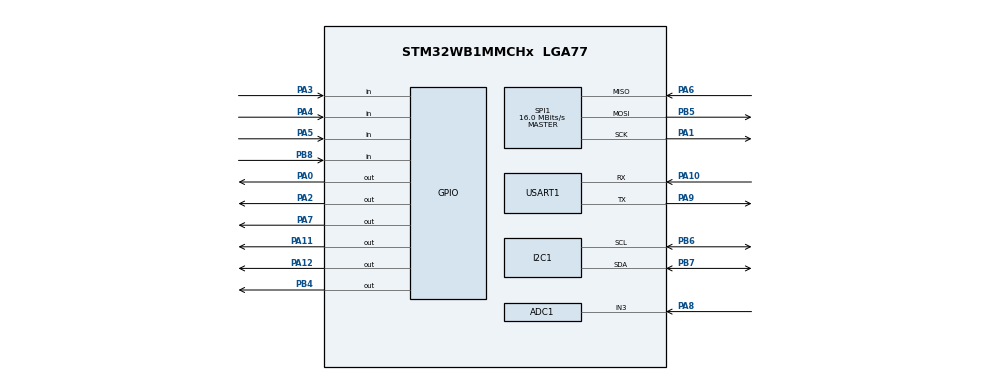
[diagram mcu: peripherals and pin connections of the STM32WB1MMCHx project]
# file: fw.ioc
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ADC1.Channel-0\#ChannelRegularConversion=ADC_CHANNEL_3
ADC1.NbrOfConversionFlag=1
ADC1.Rank-0\#ChannelRegularConversion=1
ADC1.SamplingTime-0\#ChannelRegularConversion=ADC_SAMPLINGTIME_COMMON_1
ADC1.SelectedChannel=ADC_CHANNEL_3
ADC1.master=1
I2C1.Timing=0x00B07CB4
Mcu.Family=STM32WB
Mcu.Name=STM32WB1MMCHx
Mcu.Package=LGA77
NVIC.HSEM_IRQn=true\:0\:0\:false\:false\:true\:false\:true\:true
NVIC.IPCC_C1_RX_IRQn=true\:0\:0\:false\:false\:true\:true\:true\:true
NVIC.IPCC_C1_TX_IRQn=true\:0\:0\:false\:false\:true\:true\:true\:true
NVIC.PriorityGroup=NVIC_PRIORITYGROUP_4
NVIC.RTC_WKUP_IRQn=true\:0\:0\:false\:false\:true\:true\:true\:true
PA0.Signal=GPIO_Output
PA1.Mode=Full_Duplex_Master
PA1.Signal=SPI1_SCK
PA10.Mode=Asynchronous
PA10.Signal=USART1_RX
PA11.Signal=GPIO_Output
PA12.Signal=GPIO_Output
PA13.Mode=Serial_Wire
PA13.Signal=SYS_JTMS-SWDIO
PA14.Mode=Serial_Wire
PA14.Signal=SYS_JTCK-SWCLK
PA2.Signal=GPIO_Output
PA3.Signal=GPIO_Input
PA4.Signal=GPIO_Input
PA5.Signal=GPIO_Input
PA6.Mode=Full_Duplex_Master
PA6.Signal=SPI1_MISO
PA7.Signal=GPIO_Output
PA8.Signal=ADCx_IN3
PA9.Mode=Asynchronous
PA9.Signal=USART1_TX
PB4.Signal=GPIO_Output
PB5.Mode=Full_Duplex_Master
PB5.Signal=SPI1_MOSI
PB6.Mode=I2C
PB6.Signal=I2C1_SCL
PB7.Mode=I2C
PB7.Signal=I2C1_SDA
PB8.Signal=GPIO_Input
ProjectManager.HeapSize=0x200
ProjectManager.StackSize=0x400
ProjectManager.TargetToolchain=STM32CubeIDE
RCC.AHBFreq_Value=32000000
RCC.APB1Freq_Value=32000000
RCC.APB1TimFreq_Value=32000000
RCC.APB2Freq_Value=32000000
RCC.APB2TimFreq_Value=32000000
RCC.APB3Freq_Value=16000000
RCC.CortexFreq_Value=32000000
RCC.HCLKFreq_Value=32000000
RCC.HSE_VALUE=32000000
RCC.HSI_VALUE=16000000
RCC.MSIClockRange=RCC_MSIRANGE_10
RCC.SYSCLKFreq_VALUE=32000000
RCC.VCOOutputFreq_Value=256000000
SH.ADCx_IN3.0=ADC1_IN3,IN3-Single-Ended
SPI1.CalculateBaudRate=16.0 MBits/s
SPI1.Direction=SPI_DIRECTION_2LINES
SPI1.Mode=SPI_MODE_MASTER
SPI1.VirtualType=VM_MASTER
STM32_WPAN.AD_TYPE_COMPLETE_LOCAL_NAME=BAGEL
STM32_WPAN.AD_TYPE_COMPLETE_LOCAL_NAME_LENGTH=6
STM32_WPAN.CFG_LSCLK_LSE=0
STM32_WPAN.CUSTOM_P2P_SERVER=Disabled
STM32_WPAN.CUSTOM_TEMPLATE=Enabled
STM32_WPAN.INCLUDE_AD_TYPE_COMPLETE_LOCAL_NAME=1
STM32_WPAN.NUMBER_OF_SERVICES=2
STM32_WPAN.PAIRING_PARAMETERS=OFF
STM32_WPAN.SERVICE1_CHAR1_GATT_NOTIFY_READ_REQ_AND_WAIT_FOR_APPL_RESP=\ 
STM32_WPAN.SERVICE1_CHAR1_GATT_NOTIFY_WRITE_REQ_AND_WAIT_FOR_APPL_RESP=\ 
STM32_WPAN.SERVICE1_CHAR1_LONG_NAME=SWITCH_4
STM32_WPAN.SERVICE1_CHAR1_PROP_NOTIFY=CHAR_PROP_NOTIFY
STM32_WPAN.SERVICE1_CHAR1_PROP_READ=CHAR_PROP_READ
STM32_WPAN.SERVICE1_CHAR1_PROP_WRITE=CHAR_PROP_WRITE
STM32_WPAN.SERVICE1_CHAR1_SHORT_NAME=SWITCH_4
STM32_WPAN.SERVICE1_CHAR1_UUID=98 71 87 AB D9 37 FE 72 83 74 02 09 27 16 78 27
STM32_WPAN.SERVICE1_CHAR1_UUID_128_INPUT_TYPE=1
STM32_WPAN.SERVICE1_CHAR2_GATT_NOTIFY_READ_REQ_AND_WAIT_FOR_APPL_RESP=\ 
STM32_WPAN.SERVICE1_CHAR2_GATT_NOTIFY_WRITE_REQ_AND_WAIT_FOR_APPL_RESP=\ 
STM32_WPAN.SERVICE1_CHAR2_LONG_NAME=SWITCH_5
STM32_WPAN.SERVICE1_CHAR2_PROP_NOTIFY=CHAR_PROP_NOTIFY
STM32_WPAN.SERVICE1_CHAR2_PROP_READ=CHAR_PROP_READ
STM32_WPAN.SERVICE1_CHAR2_PROP_WRITE=CHAR_PROP_WRITE
STM32_WPAN.SERVICE1_CHAR2_SHORT_NAME=SWITCH_5
STM32_WPAN.SERVICE1_CHAR2_UUID=67 37 44 98 92 48 92 49 82 49 83 48 93 48 3B CD
STM32_WPAN.SERVICE1_CHAR2_UUID_128_INPUT_TYPE=1
STM32_WPAN.SERVICE1_CHAR3_GATT_NOTIFY_READ_REQ_AND_WAIT_FOR_APPL_RESP=\ 
STM32_WPAN.SERVICE1_CHAR3_GATT_NOTIFY_WRITE_REQ_AND_WAIT_FOR_APPL_RESP=\ 
STM32_WPAN.SERVICE1_CHAR3_LONG_NAME=SWITCH_6
STM32_WPAN.SERVICE1_CHAR3_PROP_NOTIFY=CHAR_PROP_NOTIFY
STM32_WPAN.SERVICE1_CHAR3_PROP_READ=CHAR_PROP_READ
STM32_WPAN.SERVICE1_CHAR3_PROP_WRITE=CHAR_PROP_WRITE
STM32_WPAN.SERVICE1_CHAR3_SHORT_NAME=SWITCH_6
STM32_WPAN.SERVICE1_CHAR3_UUID=97 19 81 88 92 89 2B CD 98 F9 8E 98 98 E7 12 31
STM32_WPAN.SERVICE1_CHAR3_UUID_128_INPUT_TYPE=1
STM32_WPAN.SERVICE1_LONG_NAME=BAGEL_2
STM32_WPAN.SERVICE1_NUMBER_OF_CHARACTERISTICS=3
STM32_WPAN.SERVICE1_SHORT_NAME=BAGEL_2
STM32_WPAN.SERVICE1_UUID=73 73 73 73 73 71 91 92 10 95 09 12 89 27 26 6B
STM32_WPAN.SERVICE1_UUID_128_INPUT_TYPE=1
STM32_WPAN.SERVICE2_CHAR1_GATT_NOTIFY_READ_REQ_AND_WAIT_FOR_APPL_RESP=\ 
STM32_WPAN.SERVICE2_CHAR1_GATT_NOTIFY_WRITE_REQ_AND_WAIT_FOR_APPL_RESP=\ 
STM32_WPAN.SERVICE2_CHAR1_LENGTH_CHARACTERISTIC=CHAR_VALUE_LEN_CONSTANT
STM32_WPAN.SERVICE2_CHAR1_LONG_NAME=Switch_1
STM32_WPAN.SERVICE2_CHAR1_PROP_NOTIFY=CHAR_PROP_NOTIFY
STM32_WPAN.SERVICE2_CHAR1_PROP_READ=CHAR_PROP_READ
STM32_WPAN.SERVICE2_CHAR1_PROP_WRITE=CHAR_PROP_WRITE
STM32_WPAN.SERVICE2_CHAR1_SHORT_NAME=Switch_1
STM32_WPAN.SERVICE2_CHAR1_UUID=1A B8 34 56 76 53 73 84 27 37 48 48 38 48 38 48
STM32_WPAN.SERVICE2_CHAR1_UUID_128_INPUT_TYPE=1
STM32_WPAN.SERVICE2_CHAR2_GATT_NOTIFY_READ_REQ_AND_WAIT_FOR_APPL_RESP=\ 
STM32_WPAN.SERVICE2_CHAR2_GATT_NOTIFY_WRITE_REQ_AND_WAIT_FOR_APPL_RESP=\ 
STM32_WPAN.SERVICE2_CHAR2_LONG_NAME=Switch_2
STM32_WPAN.SERVICE2_CHAR2_PROP_NOTIFY=CHAR_PROP_NOTIFY
STM32_WPAN.SERVICE2_CHAR2_PROP_READ=CHAR_PROP_READ
STM32_WPAN.SERVICE2_CHAR2_PROP_WRITE=CHAR_PROP_WRITE
STM32_WPAN.SERVICE2_CHAR2_SHORT_NAME=Switch_2
STM32_WPAN.SERVICE2_CHAR2_UUID=63 77 77 AB C7 38 7D E7 28 98 27 37 38 83 88 38
STM32_WPAN.SERVICE2_CHAR2_UUID_128_INPUT_TYPE=1
STM32_WPAN.SERVICE2_CHAR3_GATT_NOTIFY_READ_REQ_AND_WAIT_FOR_APPL_RESP=\ 
STM32_WPAN.SERVICE2_CHAR3_GATT_NOTIFY_WRITE_REQ_AND_WAIT_FOR_APPL_RESP=\ 
STM32_WPAN.SERVICE2_CHAR3_LONG_NAME=Switch_3
STM32_WPAN.SERVICE2_CHAR3_PROP_NOTIFY=CHAR_PROP_NOTIFY
STM32_WPAN.SERVICE2_CHAR3_PROP_READ=CHAR_PROP_READ
STM32_WPAN.SERVICE2_CHAR3_PROP_WRITE=CHAR_PROP_WRITE
STM32_WPAN.SERVICE2_CHAR3_SHORT_NAME=Switch_3
STM32_WPAN.SERVICE2_CHAR3_UUID=72 67 18 34 82 82 03 08 23 83 83 8B CD E2 90 92
STM32_WPAN.SERVICE2_CHAR3_UUID_128_INPUT_TYPE=1
STM32_WPAN.SERVICE2_LONG_NAME=BAGEL_1
STM32_WPAN.SERVICE2_NUMBER_OF_CHARACTERISTICS=3
STM32_WPAN.SERVICE2_SHORT_NAME=BAGEL_1
STM32_WPAN.SERVICE2_UUID=72 73 78 10 82 72 98 12 98 98 98 BC DE F9 81 98
STM32_WPAN.SERVICE2_UUID_128_INPUT_TYPE=1
STM32_WPAN.SERVICE3_CHAR1_GATT_NOTIFY_READ_REQ_AND_WAIT_FOR_APPL_RESP=\ 
STM32_WPAN.SERVICE3_CHAR1_GATT_NOTIFY_WRITE_REQ_AND_WAIT_FOR_APPL_RESP=\ 
STM32_WPAN.SERVICE3_CHAR1_LONG_NAME=SWITCH_4
STM32_WPAN.SERVICE3_CHAR1_PROP_NOTIFY=CHAR_PROP_NOTIFY
STM32_WPAN.SERVICE3_CHAR1_PROP_READ=CHAR_PROP_READ
STM32_WPAN.SERVICE3_CHAR1_PROP_WRITE=CHAR_PROP_WRITE
STM32_WPAN.SERVICE3_CHAR1_SHORT_NAME=SWITCH_4
STM32_WPAN.SERVICE3_CHAR1_UUID=64 18 92 98 78 46 54 7F ED 91 98 28 7B CD AB 48
STM32_WPAN.SERVICE3_CHAR1_UUID_128_INPUT_TYPE=1
STM32_WPAN.SERVICE3_CHAR2_GATT_NOTIFY_READ_REQ_AND_WAIT_FOR_APPL_RESP=\ 
STM32_WPAN.SERVICE3_CHAR2_GATT_NOTIFY_WRITE_REQ_AND_WAIT_FOR_APPL_RESP=\ 
STM32_WPAN.SERVICE3_CHAR2_LONG_NAME=SWITCH_5
STM32_WPAN.SERVICE3_CHAR2_PROP_NOTIFY=CHAR_PROP_NOTIFY
STM32_WPAN.SERVICE3_CHAR2_PROP_READ=CHAR_PROP_READ
STM32_WPAN.SERVICE3_CHAR2_PROP_WRITE=CHAR_PROP_WRITE
STM32_WPAN.SERVICE3_CHAR2_SHORT_NAME=SWITCH_5
STM32_WPAN.SERVICE3_CHAR2_UUID=98 34 98 98 98 98 BC EF 98 E9 8D 98 F9 87 82 12
STM32_WPAN.SERVICE3_CHAR2_UUID_128_INPUT_TYPE=1
STM32_WPAN.SERVICE3_CHAR3_GATT_NOTIFY_READ_REQ_AND_WAIT_FOR_APPL_RESP=\ 
STM32_WPAN.SERVICE3_CHAR3_GATT_NOTIFY_WRITE_REQ_AND_WAIT_FOR_APPL_RESP=\ 
STM32_WPAN.SERVICE3_CHAR3_LONG_NAME=SWITCH_6
STM32_WPAN.SERVICE3_CHAR3_PROP_NOTIFY=CHAR_PROP_NOTIFY
STM32_WPAN.SERVICE3_CHAR3_PROP_READ=CHAR_PROP_READ
STM32_WPAN.SERVICE3_CHAR3_PROP_WRITE=CHAR_PROP_WRITE
STM32_WPAN.SERVICE3_CHAR3_SHORT_NAME=SWITCH_6
STM32_WPAN.SERVICE3_CHAR3_UUID=73 77 97 8B CE 8F 98 D9 8A 98 B9 82 97 83 89 29
STM32_WPAN.SERVICE3_CHAR3_UUID_128_INPUT_TYPE=1
STM32_WPAN.SERVICE3_LONG_NAME=BAGEL_2
STM32_WPAN.SERVICE3_NUMBER_OF_CHARACTERISTICS=3
STM32_WPAN.SERVICE3_SHORT_NAME=BAGEL_2
STM32_WPAN.SERVICE3_UUID=12 34 56 78 73 23 48 29 44 28 92 24 89 24 78 24
USART1.VirtualMode-Asynchronous=VM_ASYNC
VP_HSEM_VS_HSEM.Mode=HSEM_Activate
VP_IPCC_VS_IPCC.Mode=IPCC_Activate
VP_MEMORYMAP_VS_MEMORYMAP.Mode=CurAppReg
VP_RCC_V_OSC32_IN.Mode=LSE-External-Clock-Source
VP_RCC_V_OSC_IN.Mode=HSE-External-Clock-Source
VP_RF_VS_RF.Mode=RF_Activate
VP_RTC_VS_RTC_Activate.Mode=RTC_Enabled
VP_RTC_VS_RTC_WakeUp_intern.Mode=WakeUp
VP_SEQUENCER_VS_SEQUENCER.Mode=SEQUENCER_Enabled
VP_STM32_WPAN_VS_BLE_HOST.Mode=STM32_WPAN_Enabled
VP_TINY_LPM_VS_TINY_LPM.Mode=TINY_LPM_Enabled
board=custom

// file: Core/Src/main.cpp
/* USER CODE BEGIN Header */
/**
  ******************************************************************************
  * @file           : main.c
  * @brief          : Main program body
  ******************************************************************************
  * @attention
  *
  * Copyright (c) 2026 STMicroelectronics.
  * All rights reserved.
  *
  * This software is licensed under terms that can be found in the LICENSE file
  * in the root directory of this software component.
  * If no LICENSE file comes with this software, it is provided AS-IS.
  *
  ******************************************************************************
  */
/* USER CODE END Header */
#include "main.h"

/* USER CODE BEGIN Includes */
#include <stdio.h>
#include "../../Middlewares/ST/STM32_WPAN/ble/core/auto/ble_types.h"
#include "../../Drivers/TCAL9538/TCAL9538.hpp"
#include "../../Drivers/Interface/interface.h"
#include "../../STM32_WPAN/App/custom_stm.h"
#include "../../STM32_WPAN/App/custom_app.h"
/* USER CODE END Includes */

ADC_HandleTypeDef hadc1;

I2C_HandleTypeDef hi2c1;

IPCC_HandleTypeDef hipcc;

RTC_HandleTypeDef hrtc;

SPI_HandleTypeDef hspi1;

UART_HandleTypeDef huart1;

/* USER CODE BEGIN PV */
UART_HandleTypeDef * my_huart;

//gpio_status status;
/* USER CODE END PV */

void SystemClock_Config(void);
void PeriphCommonClock_Config(void);
static void MX_GPIO_Init(void);
static void MX_ADC1_Init(void);
static void MX_I2C1_Init(void);
static void MX_SPI1_Init(void);
static void MX_USART1_UART_Init(void);
static void MX_IPCC_Init(void);
static void MX_RTC_Init(void);
static void MX_RF_Init(void);
/* USER CODE BEGIN PFP */

uint8_t init_gpio_inputs() {
	for (int i=0; i<GPIO_INPUT_END; i++) {
		struct gpio_pin pin = gpio_input_pins[i];
		if (!pin.expander || pin.expander == 3) {
//			gpioPinMode()
			continue;
		}
		gpioPinMode(GpioAddress(pin.expander - 1, pin.pin), INPUT);
	}
	return 0;
}

uint8_t init_gpio_outputs() {
	for (int i=0; i<GPIO_OUTPUT_END; i++) {
		struct gpio_pin pin = gpio_output_pins[i];
		if (!pin.expander || pin.expander == 3) {
//			gpioPinMode()
			continue;
		}
		gpioPinMode(GpioAddress(pin.expander - 1, pin.pin), OUTPUT);
	}
	return 0;
}

uint8_t read_gpio_input(int gpio_input) {
	struct gpio_pin pin = gpio_input_pins[gpio_input];
	GPIO_PinState val;
	if (!pin.expander || pin.expander == 3) {
		val = HAL_GPIO_ReadPin((!pin.expander) ? GPIOA : GPIOB, pin.pin);
		return (uint8_t)(val == GPIO_PIN_SET);
	 }
	uint8_t otherVal;
	otherVal = (uint8_t)gpioDigitalRead(GpioAddress(pin.expander - 1, pin.pin)).value;
//	uint8_t buffer[30];
//	int len = sprintf((char*)buffer, "%d.%d: %d\r\n", (int)pin.expander, (int)pin.pin, (int)otherVal);
//	HAL_UART_Transmit(&huart1, buffer, len, 1000);
	return otherVal;
}

uint8_t write_gpio_output(int gpio_output, int value) {
	GPIO_PinState real_val = (value == 1) ? GPIO_PIN_SET : GPIO_PIN_RESET;
	struct gpio_pin pin = gpio_output_pins[gpio_output];
	if (!pin.expander) {
		HAL_GPIO_WritePin(GPIOA, pin.pin, real_val);
		return 0;
	}
	gpioDigitalWrite(GpioAddress(pin.expander - 1, pin.pin), real_val);
	return 0;
}

uint8_t init_gpio_output_from_flipflops() {
	uint8_t switch_1_status_q = read_gpio_input(SWITCH_1_Q) << 1; // reads Q_not
	uint8_t switch_2_status_q = read_gpio_input(SWITCH_2_Q) << 1;
	uint8_t switch_3_status_q = read_gpio_input(SWITCH_3_Q) << 1;
	uint8_t switch_4_status_q = read_gpio_input(SWITCH_4_Q) << 1;
	uint8_t switch_5_status_q = read_gpio_input(SWITCH_5_Q) << 1;
	uint8_t switch_6_status_q = read_gpio_input(SWITCH_6_Q) << 1;

	uint8_t switch_1_status_pg = read_gpio_input(SWITCH_1_PG); // reads PG
	uint8_t switch_2_status_pg = read_gpio_input(SWITCH_2_PG);
	uint8_t switch_3_status_pg = read_gpio_input(SWITCH_3_PG);
	uint8_t switch_4_status_pg = read_gpio_input(SWITCH_4_PG);
	uint8_t switch_5_status_pg = read_gpio_input(SWITCH_5_PG);
	uint8_t switch_6_status_pg = read_gpio_input(SWITCH_6_PG);

	uint8_t switch_1_status = switch_1_status_q + switch_1_status_pg;
	uint8_t switch_2_status = switch_2_status_q + switch_2_status_pg;
	uint8_t switch_3_status = switch_3_status_q + switch_3_status_pg;
	uint8_t switch_4_status = switch_4_status_q + switch_4_status_pg;
	uint8_t switch_5_status = switch_5_status_q + switch_5_status_pg;
	uint8_t switch_6_status = switch_6_status_q + switch_6_status_pg;

	// actually write the status to the gpio pins
	write_gpio_output(SWITCH_1,  (switch_1_status == 1));
	write_gpio_output(SWITCH_2,  (switch_2_status == 1));
	write_gpio_output(SWITCH_3,  (switch_3_status == 1));
	write_gpio_output(SWITCH_4,  (switch_4_status == 1));
	write_gpio_output(SWITCH_5,  (switch_5_status == 1));
	write_gpio_output(SWITCH_6,  (switch_6_status == 1));

	// update the status array
	update_gpio_output(SWITCH_1, (switch_1_status == 1));
	update_gpio_output(SWITCH_2, (switch_2_status == 1));
	update_gpio_output(SWITCH_3, (switch_3_status == 1));
	update_gpio_output(SWITCH_4, (switch_4_status == 1));
	update_gpio_output(SWITCH_5, (switch_5_status == 1));
	update_gpio_output(SWITCH_6, (switch_6_status == 1));
	return 0;
}

uint8_t update_ble_values() {
	uint8_t switch_1_status_q = read_gpio_input(SWITCH_1_Q) << 1; // reads Q_not
	uint8_t switch_2_status_q = read_gpio_input(SWITCH_2_Q) << 1;
	uint8_t switch_3_status_q = read_gpio_input(SWITCH_3_Q) << 1;
	uint8_t switch_4_status_q = read_gpio_input(SWITCH_4_Q) << 1;
	uint8_t switch_5_status_q = read_gpio_input(SWITCH_5_Q) << 1;
	uint8_t switch_6_status_q = read_gpio_input(SWITCH_6_Q) << 1;

	uint8_t switch_1_status_pg = read_gpio_input(SWITCH_1_PG); // reads PG
	uint8_t switch_2_status_pg = read_gpio_input(SWITCH_2_PG);
	uint8_t switch_3_status_pg = read_gpio_input(SWITCH_3_PG);
	uint8_t switch_4_status_pg = read_gpio_input(SWITCH_4_PG);
	uint8_t switch_5_status_pg = read_gpio_input(SWITCH_5_PG);
	uint8_t switch_6_status_pg = read_gpio_input(SWITCH_6_PG);
	char disconnected = 'D';
	char impossible   = 'I';
	char nominal      = 'N';
	char off          = 'O';
	// the DINO protocol

	uint8_t switch_1_status = switch_1_status_q + switch_1_status_pg;
	uint8_t switch_2_status = switch_2_status_q + switch_2_status_pg;
	uint8_t switch_3_status = switch_3_status_q + switch_3_status_pg;
	uint8_t switch_4_status = switch_4_status_q + switch_4_status_pg;
	uint8_t switch_5_status = switch_5_status_q + switch_5_status_pg;
	uint8_t switch_6_status = switch_6_status_q + switch_6_status_pg;
	switch (switch_1_status) {
	case 0:
		Custom_STM_App_Update_Char(CUSTOM_STM_SWITCH_1, (uint8_t *)&disconnected);
		break;
	case 1:
		Custom_STM_App_Update_Char(CUSTOM_STM_SWITCH_1, (uint8_t *)&nominal);
		break;
	case 2:
		Custom_STM_App_Update_Char(CUSTOM_STM_SWITCH_1, (uint8_t *)&off);
		break;
	case 3:
		Custom_STM_App_Update_Char(CUSTOM_STM_SWITCH_1, (uint8_t *)&impossible);
		break;
	}

	switch (switch_2_status) {
		case 0:
			Custom_STM_App_Update_Char(CUSTOM_STM_SWITCH_2, (uint8_t *)&disconnected);
			break;
		case 1:
			Custom_STM_App_Update_Char(CUSTOM_STM_SWITCH_2, (uint8_t *)&nominal);
			break;
		case 2:
			Custom_STM_App_Update_Char(CUSTOM_STM_SWITCH_2, (uint8_t *)&off);
			break;
		case 3:
			Custom_STM_App_Update_Char(CUSTOM_STM_SWITCH_2, (uint8_t *)&impossible);
			break;
	}

	switch (switch_3_status) {
		case 0:
			Custom_STM_App_Update_Char(CUSTOM_STM_SWITCH_3, (uint8_t *)&disconnected);
			break;
		case 1:
			Custom_STM_App_Update_Char(CUSTOM_STM_SWITCH_3, (uint8_t *)&nominal);
			break;
		case 2:
			Custom_STM_App_Update_Char(CUSTOM_STM_SWITCH_3, (uint8_t *)&off);
			break;
		case 3:
			Custom_STM_App_Update_Char(CUSTOM_STM_SWITCH_3, (uint8_t *)&impossible);
			break;
	}

	switch (switch_4_status) {
		case 0:
			Custom_STM_App_Update_Char(CUSTOM_STM_SWITCH_4, (uint8_t *)&disconnected);
			break;
		case 1:
			Custom_STM_App_Update_Char(CUSTOM_STM_SWITCH_4, (uint8_t *)&nominal);
			break;
		case 2:
			Custom_STM_App_Update_Char(CUSTOM_STM_SWITCH_4, (uint8_t *)&off);
			break;
		case 3:
			Custom_STM_App_Update_Char(CUSTOM_STM_SWITCH_4, (uint8_t *)&impossible);
			break;
	}

	switch (switch_5_status) {
		case 0:
			Custom_STM_App_Update_Char(CUSTOM_STM_SWITCH_5, (uint8_t *)&disconnected);
			break;
		case 1:
			Custom_STM_App_Update_Char(CUSTOM_STM_SWITCH_5, (uint8_t *)&nominal);
			break;
		case 2:
			Custom_STM_App_Update_Char(CUSTOM_STM_SWITCH_5, (uint8_t *)&off);
			break;
		case 3:
			Custom_STM_App_Update_Char(CUSTOM_STM_SWITCH_5, (uint8_t *)&impossible);
			break;
	}

	switch (switch_6_status) {
		case 0:
			Custom_STM_App_Update_Char(CUSTOM_STM_SWITCH_6, (uint8_t *)&disconnected);
			break;
		case 1:
			Custom_STM_App_Update_Char(CUSTOM_STM_SWITCH_6, (uint8_t *)&nominal);
			break;
		case 2:
			Custom_STM_App_Update_Char(CUSTOM_STM_SWITCH_6, (uint8_t *)&off);
			break;
		case 3:
			Custom_STM_App_Update_Char(CUSTOM_STM_SWITCH_6, (uint8_t *)&impossible);
			break;
	}

	return 0;
}

/* USER CODE END PFP */

int main(void)
{

  /* MCU Configuration--------------------------------------------------------*/

  /* Reset of all peripherals, Initializes the Flash interface and the Systick. */
  HAL_Init();
  /* Config code for STM32_WPAN (HSE Tuning must be done before system clock configuration) */
  MX_APPE_Config();

  /* Configure the system clock */
  SystemClock_Config();

  /* Configure the peripherals common clocks */
  PeriphCommonClock_Config();

  /* IPCC initialisation */
  MX_IPCC_Init();

  /* Initialize all configured peripherals */
  MX_GPIO_Init();
  MX_ADC1_Init();
  MX_I2C1_Init();
  MX_SPI1_Init();
  MX_USART1_UART_Init();
  MX_RTC_Init();
  MX_RF_Init();
  /* USER CODE BEGIN 2 */

  interface_init(&huart1);

  uint8_t buffer[30];
  int len = sprintf((char*)buffer, "Hello World, BAGEL here\r\n");
  HAL_UART_Transmit(&huart1, buffer, len, 1000);

  HAL_GPIO_WritePin(GPIOA, GPIO_PIN_2, GPIO_PIN_SET);

  TCAL9538Init(&hi2c1, GPIOA, GPIO_PIN_2);

  for (int i = 0; i <= 7; i++) {
  	  gpioPinMode(GpioAddress(0, i), OUTPUT);
  	  gpioDigitalWrite(GpioAddress(0, i), LOW);

  	  gpioPinMode(GpioAddress(1, i), OUTPUT);
  	  gpioDigitalWrite(GpioAddress(1, i), LOW);
    }

    init_gpio_inputs();
    init_gpio_outputs();

    init_gpio_output_from_flipflops();

  /* USER CODE END 2 */

  /* Init code for STM32_WPAN */
  MX_APPE_Init();

  /* Infinite loop */
  while (1)
  {
    MX_APPE_Process();

    /* USER CODE BEGIN 3 */
    // loop through all GPIO_OUTPUTs and update their values
    for (int i=SWITCH_1; i<GPIO_OUTPUT_END; i++) {
    	uint8_t status = gpio_output_status[i];
    	write_gpio_output(i, status);
    }
	//toggle clock
	HAL_GPIO_WritePin(GPIOA, GPIO_PIN_0, GPIO_PIN_SET);
	HAL_Delay(50);
	HAL_GPIO_WritePin(GPIOA, GPIO_PIN_0, GPIO_PIN_RESET);

	if (bluetooth_status)
		update_ble_values();

//	HAL_UART_Transmit(&huart1, high, sizeof(high), 1000);
//	gpioDigitalWrite(GpioAddress(0, 6), HIGH);
//	HAL_Delay(50);

//	gpioDigitalWrite(GpioAddress(1, 6), HIGH);
//	HAL_Delay(50);
//	gpioDigitalWrite(GpioAddress(1, 7), HIGH);
//	HAL_Delay(50);
//	// switch 3
//	gpioDigitalWrite(GpioAddress(0,0),LOW);
//	// switch 4
//	gpioDigitalWrite(GpioAddress(1,5),LOW);
//	// switch 5
//	gpioDigitalWrite(GpioAddress(1,0),LOW);
//
	//toggle clock
//	HAL_GPIO_WritePin(GPIOA, GPIO_PIN_0, GPIO_PIN_SET);
//	HAL_Delay(50);
//	HAL_GPIO_WritePin(GPIOA, GPIO_PIN_0, GPIO_PIN_RESET);
//
//	HAL_Delay(750);
//
////	HAL_UART_Transmit(&huart1, low, sizeof(low), 1000);
//	gpioDigitalWrite(GpioAddress(1, 7), LOW);
//	HAL_Delay(50);
//	gpioDigitalWrite(GpioAddress(1, 6), LOW);
//	HAL_Delay(50);
//	gpioDigitalWrite(GpioAddress(0, 7), LOW);
//	HAL_Delay(50);
//	gpioDigitalWrite(GpioAddress(0, 6), LOW);
//	HAL_Delay(50);
//	// switch 3
//	gpioDigitalWrite(GpioAddress(0,0),LOW);
//	// switch 4
//	gpioDigitalWrite(GpioAddress(1,5),LOW);
//	// switch 5
//	gpioDigitalWrite(GpioAddress(1,0),LOW);
//
////	//toggle clock
////	HAL_GPIO_WritePin(GPIOA, GPIO_PIN_0, GPIO_PIN_SET);
////	HAL_Delay(50);
////	HAL_GPIO_WritePin(GPIOA, GPIO_PIN_0, GPIO_PIN_RESET);

	HAL_Delay(750);

  }
  /* USER CODE END 3 */
}

void SystemClock_Config(void)
{
  RCC_OscInitTypeDef RCC_OscInitStruct = {0};
  RCC_ClkInitTypeDef RCC_ClkInitStruct = {0};

  /** Configure LSE Drive Capability
  */
  HAL_PWR_EnableBkUpAccess();
  __HAL_RCC_LSEDRIVE_CONFIG(RCC_LSEDRIVE_MEDIUMHIGH);

  /** Initializes the RCC Oscillators according to the specified parameters
  * in the RCC_OscInitTypeDef structure.
  */
  RCC_OscInitStruct.OscillatorType = RCC_OSCILLATORTYPE_HSI|RCC_OSCILLATORTYPE_LSI1
                              |RCC_OSCILLATORTYPE_HSE|RCC_OSCILLATORTYPE_LSE
                              |RCC_OSCILLATORTYPE_MSI;
  RCC_OscInitStruct.HSEState = RCC_HSE_ON;
  RCC_OscInitStruct.LSEState = RCC_LSE_ON;
  RCC_OscInitStruct.HSIState = RCC_HSI_ON;
  RCC_OscInitStruct.MSIState = RCC_MSI_ON;
  RCC_OscInitStruct.HSICalibrationValue = RCC_HSICALIBRATION_DEFAULT;
  RCC_OscInitStruct.MSICalibrationValue = RCC_MSICALIBRATION_DEFAULT;
  RCC_OscInitStruct.MSIClockRange = RCC_MSIRANGE_10;
  RCC_OscInitStruct.LSIState = RCC_LSI_ON;
  RCC_OscInitStruct.PLL.PLLState = RCC_PLL_NONE;
  if (HAL_RCC_OscConfig(&RCC_OscInitStruct) != HAL_OK)
  {
    Error_Handler();
  }

  /** Configure the SYSCLKSource, HCLK, PCLK1 and PCLK2 clocks dividers
  */
  RCC_ClkInitStruct.ClockType = RCC_CLOCKTYPE_HCLK4|RCC_CLOCKTYPE_HCLK2
                              |RCC_CLOCKTYPE_HCLK|RCC_CLOCKTYPE_SYSCLK
                              |RCC_CLOCKTYPE_PCLK1|RCC_CLOCKTYPE_PCLK2;
  RCC_ClkInitStruct.SYSCLKSource = RCC_SYSCLKSOURCE_MSI;
  RCC_ClkInitStruct.AHBCLKDivider = RCC_SYSCLK_DIV1;
  RCC_ClkInitStruct.APB1CLKDivider = RCC_HCLK_DIV1;
  RCC_ClkInitStruct.APB2CLKDivider = RCC_HCLK_DIV1;
  RCC_ClkInitStruct.AHBCLK2Divider = RCC_SYSCLK_DIV1;
  RCC_ClkInitStruct.AHBCLK4Divider = RCC_SYSCLK_DIV1;

  if (HAL_RCC_ClockConfig(&RCC_ClkInitStruct, FLASH_LATENCY_1) != HAL_OK)
  {
    Error_Handler();
  }

  /** Enable MSI Auto calibration
  */
  HAL_RCCEx_EnableMSIPLLMode();
}

void PeriphCommonClock_Config(void)
{
  RCC_PeriphCLKInitTypeDef PeriphClkInitStruct = {0};

  /** Initializes the peripherals clock
  */
  PeriphClkInitStruct.PeriphClockSelection = RCC_PERIPHCLK_SMPS|RCC_PERIPHCLK_RFWAKEUP;
  PeriphClkInitStruct.RFWakeUpClockSelection = RCC_RFWKPCLKSOURCE_LSE;
  PeriphClkInitStruct.SmpsClockSelection = RCC_SMPSCLKSOURCE_HSI;
  PeriphClkInitStruct.SmpsDivSelection = RCC_SMPSCLKDIV_RANGE1;

  if (HAL_RCCEx_PeriphCLKConfig(&PeriphClkInitStruct) != HAL_OK)
  {
    Error_Handler();
  }
}

static void MX_ADC1_Init(void)
{

  ADC_ChannelConfTypeDef sConfig = {0};

  /** Common config
  */
  hadc1.Instance = ADC1;
  hadc1.Init.ClockPrescaler = ADC_CLOCK_ASYNC_DIV1;
  hadc1.Init.Resolution = ADC_RESOLUTION_12B;
  hadc1.Init.DataAlign = ADC_DATAALIGN_RIGHT;
  hadc1.Init.ScanConvMode = ADC_SCAN_DISABLE;
  hadc1.Init.EOCSelection = ADC_EOC_SINGLE_CONV;
  hadc1.Init.SamplingTimeCommon1 = ADC_SAMPLETIME_1CYCLE_5;
  hadc1.Init.SamplingTimeCommon2 = ADC_SAMPLETIME_1CYCLE_5;
  hadc1.Init.LowPowerAutoWait = DISABLE;
  hadc1.Init.ContinuousConvMode = DISABLE;
  hadc1.Init.NbrOfConversion = 1;
  hadc1.Init.DiscontinuousConvMode = DISABLE;
  hadc1.Init.ExternalTrigConv = ADC_SOFTWARE_START;
  hadc1.Init.ExternalTrigConvEdge = ADC_EXTERNALTRIGCONVEDGE_NONE;
  hadc1.Init.DMAContinuousRequests = DISABLE;
  hadc1.Init.Overrun = ADC_OVR_DATA_PRESERVED;
  if (HAL_ADC_Init(&hadc1) != HAL_OK)
  {
    Error_Handler();
  }

  /** Configure Regular Channel
  */
  sConfig.Channel = ADC_CHANNEL_3;
  sConfig.Rank = ADC_REGULAR_RANK_1;
  sConfig.SamplingTime = ADC_SAMPLINGTIME_COMMON_1;
  if (HAL_ADC_ConfigChannel(&hadc1, &sConfig) != HAL_OK)
  {
    Error_Handler();
  }

}

static void MX_I2C1_Init(void)
{

  hi2c1.Instance = I2C1;
  hi2c1.Init.Timing = 0x00B07CB4;
  hi2c1.Init.OwnAddress1 = 0;
  hi2c1.Init.AddressingMode = I2C_ADDRESSINGMODE_7BIT;
  hi2c1.Init.DualAddressMode = I2C_DUALADDRESS_DISABLE;
  hi2c1.Init.OwnAddress2 = 0;
  hi2c1.Init.OwnAddress2Masks = I2C_OA2_NOMASK;
  hi2c1.Init.GeneralCallMode = I2C_GENERALCALL_DISABLE;
  hi2c1.Init.NoStretchMode = I2C_NOSTRETCH_DISABLE;
  if (HAL_I2C_Init(&hi2c1) != HAL_OK)
  {
    Error_Handler();
  }

  /** Configure Analogue filter
  */
  if (HAL_I2CEx_ConfigAnalogFilter(&hi2c1, I2C_ANALOGFILTER_ENABLE) != HAL_OK)
  {
    Error_Handler();
  }

  /** Configure Digital filter
  */
  if (HAL_I2CEx_ConfigDigitalFilter(&hi2c1, 0) != HAL_OK)
  {
    Error_Handler();
  }

}

static void MX_IPCC_Init(void)
{

  hipcc.Instance = IPCC;
  if (HAL_IPCC_Init(&hipcc) != HAL_OK)
  {
    Error_Handler();
  }

}

static void MX_RF_Init(void)
{

}

static void MX_RTC_Init(void)
{

  /** Initialize RTC Only
  */
  hrtc.Instance = RTC;
  hrtc.Init.HourFormat = RTC_HOURFORMAT_24;
  hrtc.Init.AsynchPrediv = CFG_RTC_ASYNCH_PRESCALER;
  hrtc.Init.SynchPrediv = CFG_RTC_SYNCH_PRESCALER;
  hrtc.Init.OutPut = RTC_OUTPUT_DISABLE;
  hrtc.Init.OutPutPolarity = RTC_OUTPUT_POLARITY_HIGH;
  hrtc.Init.OutPutRemap = RTC_OUTPUT_REMAP_NONE;
  if (HAL_RTC_Init(&hrtc) != HAL_OK)
  {
    Error_Handler();
  }

  /** Enable the WakeUp
  */
  if (HAL_RTCEx_SetWakeUpTimer_IT(&hrtc, 0, RTC_WAKEUPCLOCK_RTCCLK_DIV16) != HAL_OK)
  {
    Error_Handler();
  }

}

static void MX_SPI1_Init(void)
{

  /* SPI1 parameter configuration*/
  hspi1.Instance = SPI1;
  hspi1.Init.Mode = SPI_MODE_MASTER;
  hspi1.Init.Direction = SPI_DIRECTION_2LINES;
  hspi1.Init.DataSize = SPI_DATASIZE_8BIT;
  hspi1.Init.CLKPolarity = SPI_POLARITY_LOW;
  hspi1.Init.CLKPhase = SPI_PHASE_1EDGE;
  hspi1.Init.NSS = SPI_NSS_SOFT;
  hspi1.Init.BaudRatePrescaler = SPI_BAUDRATEPRESCALER_2;
  hspi1.Init.FirstBit = SPI_FIRSTBIT_MSB;
  hspi1.Init.TIMode = SPI_TIMODE_DISABLE;
  hspi1.Init.CRCCalculation = SPI_CRCCALCULATION_DISABLE;
  hspi1.Init.CRCPolynomial = 7;
  hspi1.Init.CRCLength = SPI_CRC_LENGTH_DATASIZE;
  hspi1.Init.NSSPMode = SPI_NSS_PULSE_ENABLE;
  if (HAL_SPI_Init(&hspi1) != HAL_OK)
  {
    Error_Handler();
  }

}

static void MX_USART1_UART_Init(void)
{

  huart1.Instance = USART1;
  huart1.Init.BaudRate = 115200;
  huart1.Init.WordLength = UART_WORDLENGTH_8B;
  huart1.Init.StopBits = UART_STOPBITS_1;
  huart1.Init.Parity = UART_PARITY_NONE;
  huart1.Init.Mode = UART_MODE_TX_RX;
  huart1.Init.HwFlowCtl = UART_HWCONTROL_NONE;
  huart1.Init.OverSampling = UART_OVERSAMPLING_16;
  huart1.Init.OneBitSampling = UART_ONE_BIT_SAMPLE_DISABLE;
  huart1.Init.ClockPrescaler = UART_PRESCALER_DIV1;
  huart1.AdvancedInit.AdvFeatureInit = UART_ADVFEATURE_NO_INIT;
  if (HAL_UART_Init(&huart1) != HAL_OK)
  {
    Error_Handler();
  }
  if (HAL_UARTEx_SetTxFifoThreshold(&huart1, UART_TXFIFO_THRESHOLD_1_8) != HAL_OK)
  {
    Error_Handler();
  }
  if (HAL_UARTEx_SetRxFifoThreshold(&huart1, UART_RXFIFO_THRESHOLD_1_8) != HAL_OK)
  {
    Error_Handler();
  }
  if (HAL_UARTEx_DisableFifoMode(&huart1) != HAL_OK)
  {
    Error_Handler();
  }

}

static void MX_GPIO_Init(void)
{
  GPIO_InitTypeDef GPIO_InitStruct = {0};

  /* GPIO Ports Clock Enable */
  __HAL_RCC_GPIOA_CLK_ENABLE();
  __HAL_RCC_GPIOB_CLK_ENABLE();

  /*Configure GPIO pin Output Level */
  HAL_GPIO_WritePin(GPIOA, GPIO_PIN_2|GPIO_PIN_7|GPIO_PIN_12|GPIO_PIN_11
                          |GPIO_PIN_0, GPIO_PIN_RESET);

  /*Configure GPIO pin Output Level */
  HAL_GPIO_WritePin(GPIOB, GPIO_PIN_4, GPIO_PIN_RESET);

  /*Configure GPIO pins : PA4 PA3 PA5 */
  GPIO_InitStruct.Pin = GPIO_PIN_4|GPIO_PIN_3|GPIO_PIN_5;
  GPIO_InitStruct.Mode = GPIO_MODE_INPUT;
  GPIO_InitStruct.Pull = GPIO_NOPULL;
  HAL_GPIO_Init(GPIOA, &GPIO_InitStruct);

  /*Configure GPIO pins : PA2 PA7 PA12 PA11
                           PA0 */
  GPIO_InitStruct.Pin = GPIO_PIN_2|GPIO_PIN_7|GPIO_PIN_12|GPIO_PIN_11
                          |GPIO_PIN_0;
  GPIO_InitStruct.Mode = GPIO_MODE_OUTPUT_PP;
  GPIO_InitStruct.Pull = GPIO_NOPULL;
  GPIO_InitStruct.Speed = GPIO_SPEED_FREQ_LOW;
  HAL_GPIO_Init(GPIOA, &GPIO_InitStruct);

  /*Configure GPIO pin : PB8 */
  GPIO_InitStruct.Pin = GPIO_PIN_8;
  GPIO_InitStruct.Mode = GPIO_MODE_INPUT;
  GPIO_InitStruct.Pull = GPIO_NOPULL;
  HAL_GPIO_Init(GPIOB, &GPIO_InitStruct);

  /*Configure GPIO pin : PB4 */
  GPIO_InitStruct.Pin = GPIO_PIN_4;
  GPIO_InitStruct.Mode = GPIO_MODE_OUTPUT_PP;
  GPIO_InitStruct.Pull = GPIO_NOPULL;
  GPIO_InitStruct.Speed = GPIO_SPEED_FREQ_LOW;
  HAL_GPIO_Init(GPIOB, &GPIO_InitStruct);

}

void Error_Handler(void)
{
  __disable_irq();
  while (1)
  {
  }
}
